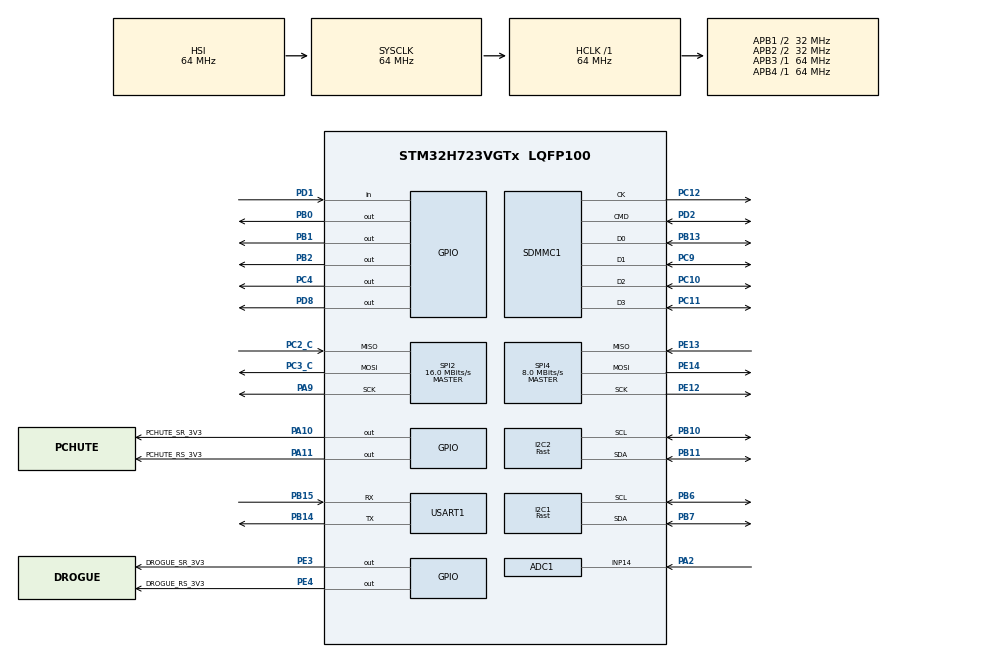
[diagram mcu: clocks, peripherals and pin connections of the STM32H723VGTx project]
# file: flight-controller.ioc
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ADC1.Channel-0\#ChannelRegularConversion=ADC_CHANNEL_14
ADC1.NbrOfConversionFlag=1
ADC1.OffsetNumber-0\#ChannelRegularConversion=ADC_OFFSET_NONE
ADC1.OffsetSignedSaturation-0\#ChannelRegularConversion=DISABLE
ADC1.Rank-0\#ChannelRegularConversion=1
ADC1.Resolution=ADC_RESOLUTION_12B
ADC1.SamplingTime-0\#ChannelRegularConversion=ADC_SAMPLETIME_387CYCLES_5
ADC1.master=1
CORTEX_M7.AccessPermission-Cortex_Memory_Protection_Unit_Region0_Settings=MPU_REGION_FULL_ACCESS
CORTEX_M7.BaseAddress-Cortex_Memory_Protection_Unit_Region0_Settings=0x30000000
CORTEX_M7.DisableExec-Cortex_Memory_Protection_Unit_Region0_Settings=MPU_INSTRUCTION_ACCESS_DISABLE
CORTEX_M7.Enable-Cortex_Memory_Protection_Unit_Region0_Settings=MPU_REGION_ENABLE
CORTEX_M7.MPU_Control=MPU_HFNMI_PRIVDEF
CORTEX_M7.Size-Cortex_Memory_Protection_Unit_Region0_Settings=MPU_REGION_SIZE_32KB
CORTEX_M7.TypeExtField-Cortex_Memory_Protection_Unit_Region0_Settings=MPU_TEX_LEVEL1
Dma.ADC1.8.Direction=DMA_PERIPH_TO_MEMORY
Dma.ADC1.8.EventEnable=DISABLE
Dma.ADC1.8.FIFOMode=DMA_FIFOMODE_DISABLE
Dma.ADC1.8.Instance=DMA2_Stream0
Dma.ADC1.8.MemDataAlignment=DMA_MDATAALIGN_HALFWORD
Dma.ADC1.8.MemInc=DMA_MINC_ENABLE
Dma.ADC1.8.Mode=DMA_NORMAL
Dma.ADC1.8.PeriphDataAlignment=DMA_PDATAALIGN_HALFWORD
Dma.ADC1.8.PeriphInc=DMA_PINC_DISABLE
Dma.ADC1.8.Polarity=HAL_DMAMUX_REQ_GEN_RISING
Dma.ADC1.8.Priority=DMA_PRIORITY_LOW
Dma.ADC1.8.RequestNumber=1
Dma.ADC1.8.SignalID=NONE
Dma.ADC1.8.SyncEnable=DISABLE
Dma.ADC1.8.SyncPolarity=HAL_DMAMUX_SYNC_NO_EVENT
Dma.ADC1.8.SyncRequestNumber=1
Dma.ADC1.8.SyncSignalID=NONE
Dma.I2C1_RX.2.Direction=DMA_PERIPH_TO_MEMORY
Dma.I2C1_RX.2.EventEnable=DISABLE
Dma.I2C1_RX.2.FIFOMode=DMA_FIFOMODE_DISABLE
Dma.I2C1_RX.2.Instance=DMA1_Stream2
Dma.I2C1_RX.2.MemDataAlignment=DMA_MDATAALIGN_BYTE
Dma.I2C1_RX.2.MemInc=DMA_MINC_ENABLE
Dma.I2C1_RX.2.Mode=DMA_NORMAL
Dma.I2C1_RX.2.PeriphDataAlignment=DMA_PDATAALIGN_BYTE
Dma.I2C1_RX.2.PeriphInc=DMA_PINC_DISABLE
Dma.I2C1_RX.2.Polarity=HAL_DMAMUX_REQ_GEN_RISING
Dma.I2C1_RX.2.Priority=DMA_PRIORITY_LOW
Dma.I2C1_RX.2.RequestNumber=1
Dma.I2C1_RX.2.SignalID=NONE
Dma.I2C1_RX.2.SyncEnable=DISABLE
Dma.I2C1_RX.2.SyncPolarity=HAL_DMAMUX_SYNC_NO_EVENT
Dma.I2C1_RX.2.SyncRequestNumber=1
Dma.I2C1_RX.2.SyncSignalID=NONE
Dma.I2C1_TX.3.Direction=DMA_MEMORY_TO_PERIPH
Dma.I2C1_TX.3.EventEnable=DISABLE
Dma.I2C1_TX.3.FIFOMode=DMA_FIFOMODE_DISABLE
Dma.I2C1_TX.3.Instance=DMA1_Stream3
Dma.I2C1_TX.3.MemDataAlignment=DMA_MDATAALIGN_BYTE
Dma.I2C1_TX.3.MemInc=DMA_MINC_ENABLE
Dma.I2C1_TX.3.Mode=DMA_NORMAL
Dma.I2C1_TX.3.PeriphDataAlignment=DMA_PDATAALIGN_BYTE
Dma.I2C1_TX.3.PeriphInc=DMA_PINC_DISABLE
Dma.I2C1_TX.3.Polarity=HAL_DMAMUX_REQ_GEN_RISING
Dma.I2C1_TX.3.Priority=DMA_PRIORITY_LOW
Dma.I2C1_TX.3.RequestNumber=1
Dma.I2C1_TX.3.SignalID=NONE
Dma.I2C1_TX.3.SyncEnable=DISABLE
Dma.I2C1_TX.3.SyncPolarity=HAL_DMAMUX_SYNC_NO_EVENT
Dma.I2C1_TX.3.SyncRequestNumber=1
Dma.I2C1_TX.3.SyncSignalID=NONE
Dma.I2C2_RX.4.Direction=DMA_PERIPH_TO_MEMORY
Dma.I2C2_RX.4.EventEnable=DISABLE
Dma.I2C2_RX.4.FIFOMode=DMA_FIFOMODE_DISABLE
Dma.I2C2_RX.4.Instance=DMA1_Stream4
Dma.I2C2_RX.4.MemDataAlignment=DMA_MDATAALIGN_BYTE
Dma.I2C2_RX.4.MemInc=DMA_MINC_ENABLE
Dma.I2C2_RX.4.Mode=DMA_NORMAL
Dma.I2C2_RX.4.PeriphDataAlignment=DMA_PDATAALIGN_BYTE
Dma.I2C2_RX.4.PeriphInc=DMA_PINC_DISABLE
Dma.I2C2_RX.4.Polarity=HAL_DMAMUX_REQ_GEN_RISING
Dma.I2C2_RX.4.Priority=DMA_PRIORITY_LOW
Dma.I2C2_RX.4.RequestNumber=1
Dma.I2C2_RX.4.SignalID=NONE
Dma.I2C2_RX.4.SyncEnable=DISABLE
Dma.I2C2_RX.4.SyncPolarity=HAL_DMAMUX_SYNC_NO_EVENT
Dma.I2C2_RX.4.SyncRequestNumber=1
Dma.I2C2_RX.4.SyncSignalID=NONE
Dma.I2C2_TX.5.Direction=DMA_MEMORY_TO_PERIPH
Dma.I2C2_TX.5.EventEnable=DISABLE
Dma.I2C2_TX.5.FIFOMode=DMA_FIFOMODE_DISABLE
Dma.I2C2_TX.5.Instance=DMA1_Stream5
Dma.I2C2_TX.5.MemDataAlignment=DMA_MDATAALIGN_BYTE
Dma.I2C2_TX.5.MemInc=DMA_MINC_ENABLE
Dma.I2C2_TX.5.Mode=DMA_NORMAL
Dma.I2C2_TX.5.PeriphDataAlignment=DMA_PDATAALIGN_BYTE
Dma.I2C2_TX.5.PeriphInc=DMA_PINC_DISABLE
Dma.I2C2_TX.5.Polarity=HAL_DMAMUX_REQ_GEN_RISING
Dma.I2C2_TX.5.Priority=DMA_PRIORITY_LOW
Dma.I2C2_TX.5.RequestNumber=1
Dma.I2C2_TX.5.SignalID=NONE
Dma.I2C2_TX.5.SyncEnable=DISABLE
Dma.I2C2_TX.5.SyncPolarity=HAL_DMAMUX_SYNC_NO_EVENT
Dma.I2C2_TX.5.SyncRequestNumber=1
Dma.I2C2_TX.5.SyncSignalID=NONE
Dma.Request0=USART1_RX
Dma.Request1=USART1_TX
Dma.Request10=SPI4_TX
Dma.Request2=I2C1_RX
Dma.Request3=I2C1_TX
Dma.Request4=I2C2_RX
Dma.Request5=I2C2_TX
Dma.Request6=SPI2_RX
Dma.Request7=SPI2_TX
Dma.Request8=ADC1
Dma.Request9=SPI4_RX
Dma.SPI2_RX.6.Direction=DMA_PERIPH_TO_MEMORY
Dma.SPI2_RX.6.EventEnable=DISABLE
Dma.SPI2_RX.6.FIFOMode=DMA_FIFOMODE_DISABLE
Dma.SPI2_RX.6.Instance=DMA1_Stream6
Dma.SPI2_RX.6.MemDataAlignment=DMA_MDATAALIGN_BYTE
Dma.SPI2_RX.6.MemInc=DMA_MINC_ENABLE
Dma.SPI2_RX.6.Mode=DMA_NORMAL
Dma.SPI2_RX.6.PeriphDataAlignment=DMA_PDATAALIGN_BYTE
Dma.SPI2_RX.6.PeriphInc=DMA_PINC_DISABLE
Dma.SPI2_RX.6.Polarity=HAL_DMAMUX_REQ_GEN_RISING
Dma.SPI2_RX.6.Priority=DMA_PRIORITY_LOW
Dma.SPI2_RX.6.RequestNumber=1
Dma.SPI2_RX.6.SignalID=NONE
Dma.SPI2_RX.6.SyncEnable=DISABLE
Dma.SPI2_RX.6.SyncPolarity=HAL_DMAMUX_SYNC_NO_EVENT
Dma.SPI2_RX.6.SyncRequestNumber=1
Dma.SPI2_RX.6.SyncSignalID=NONE
Dma.SPI2_TX.7.Direction=DMA_MEMORY_TO_PERIPH
Dma.SPI2_TX.7.EventEnable=DISABLE
Dma.SPI2_TX.7.FIFOMode=DMA_FIFOMODE_DISABLE
Dma.SPI2_TX.7.Instance=DMA1_Stream7
Dma.SPI2_TX.7.MemDataAlignment=DMA_MDATAALIGN_BYTE
Dma.SPI2_TX.7.MemInc=DMA_MINC_ENABLE
Dma.SPI2_TX.7.Mode=DMA_NORMAL
Dma.SPI2_TX.7.PeriphDataAlignment=DMA_PDATAALIGN_BYTE
Dma.SPI2_TX.7.PeriphInc=DMA_PINC_DISABLE
Dma.SPI2_TX.7.Polarity=HAL_DMAMUX_REQ_GEN_RISING
Dma.SPI2_TX.7.Priority=DMA_PRIORITY_LOW
Dma.SPI2_TX.7.RequestNumber=1
Dma.SPI2_TX.7.SignalID=NONE
Dma.SPI2_TX.7.SyncEnable=DISABLE
Dma.SPI2_TX.7.SyncPolarity=HAL_DMAMUX_SYNC_NO_EVENT
Dma.SPI2_TX.7.SyncRequestNumber=1
Dma.SPI2_TX.7.SyncSignalID=NONE
Dma.SPI4_RX.9.Direction=DMA_PERIPH_TO_MEMORY
Dma.SPI4_RX.9.EventEnable=DISABLE
Dma.SPI4_RX.9.FIFOMode=DMA_FIFOMODE_DISABLE
Dma.SPI4_RX.9.Instance=DMA2_Stream1
Dma.SPI4_RX.9.MemDataAlignment=DMA_MDATAALIGN_BYTE
Dma.SPI4_RX.9.MemInc=DMA_MINC_ENABLE
Dma.SPI4_RX.9.Mode=DMA_NORMAL
Dma.SPI4_RX.9.PeriphDataAlignment=DMA_PDATAALIGN_BYTE
Dma.SPI4_RX.9.PeriphInc=DMA_PINC_DISABLE
Dma.SPI4_RX.9.Polarity=HAL_DMAMUX_REQ_GEN_RISING
Dma.SPI4_RX.9.Priority=DMA_PRIORITY_LOW
Dma.SPI4_RX.9.RequestNumber=1
Dma.SPI4_RX.9.SignalID=NONE
Dma.SPI4_RX.9.SyncEnable=DISABLE
Dma.SPI4_RX.9.SyncPolarity=HAL_DMAMUX_SYNC_NO_EVENT
Dma.SPI4_RX.9.SyncRequestNumber=1
Dma.SPI4_RX.9.SyncSignalID=NONE
Dma.SPI4_TX.10.Direction=DMA_MEMORY_TO_PERIPH
Dma.SPI4_TX.10.EventEnable=DISABLE
Dma.SPI4_TX.10.FIFOMode=DMA_FIFOMODE_DISABLE
Dma.SPI4_TX.10.Instance=DMA2_Stream2
Dma.SPI4_TX.10.MemDataAlignment=DMA_MDATAALIGN_BYTE
Dma.SPI4_TX.10.MemInc=DMA_MINC_ENABLE
Dma.SPI4_TX.10.Mode=DMA_NORMAL
Dma.SPI4_TX.10.PeriphDataAlignment=DMA_PDATAALIGN_BYTE
Dma.SPI4_TX.10.PeriphInc=DMA_PINC_DISABLE
Dma.SPI4_TX.10.Polarity=HAL_DMAMUX_REQ_GEN_RISING
Dma.SPI4_TX.10.Priority=DMA_PRIORITY_LOW
Dma.SPI4_TX.10.RequestNumber=1
Dma.SPI4_TX.10.SignalID=NONE
Dma.SPI4_TX.10.SyncEnable=DISABLE
Dma.SPI4_TX.10.SyncPolarity=HAL_DMAMUX_SYNC_NO_EVENT
Dma.SPI4_TX.10.SyncRequestNumber=1
Dma.SPI4_TX.10.SyncSignalID=NONE
Dma.USART1_RX.0.Direction=DMA_PERIPH_TO_MEMORY
Dma.USART1_RX.0.EventEnable=DISABLE
Dma.USART1_RX.0.FIFOMode=DMA_FIFOMODE_DISABLE
Dma.USART1_RX.0.Instance=DMA1_Stream0
Dma.USART1_RX.0.MemDataAlignment=DMA_MDATAALIGN_BYTE
Dma.USART1_RX.0.MemInc=DMA_MINC_ENABLE
Dma.USART1_RX.0.Mode=DMA_NORMAL
Dma.USART1_RX.0.PeriphDataAlignment=DMA_PDATAALIGN_BYTE
Dma.USART1_RX.0.PeriphInc=DMA_PINC_DISABLE
Dma.USART1_RX.0.Polarity=HAL_DMAMUX_REQ_GEN_RISING
Dma.USART1_RX.0.Priority=DMA_PRIORITY_LOW
Dma.USART1_RX.0.RequestNumber=1
Dma.USART1_RX.0.SignalID=NONE
Dma.USART1_RX.0.SyncEnable=DISABLE
Dma.USART1_RX.0.SyncPolarity=HAL_DMAMUX_SYNC_NO_EVENT
Dma.USART1_RX.0.SyncRequestNumber=1
Dma.USART1_RX.0.SyncSignalID=NONE
Dma.USART1_TX.1.Direction=DMA_MEMORY_TO_PERIPH
Dma.USART1_TX.1.EventEnable=DISABLE
Dma.USART1_TX.1.FIFOMode=DMA_FIFOMODE_DISABLE
Dma.USART1_TX.1.Instance=DMA1_Stream1
Dma.USART1_TX.1.MemDataAlignment=DMA_MDATAALIGN_BYTE
Dma.USART1_TX.1.MemInc=DMA_MINC_ENABLE
Dma.USART1_TX.1.Mode=DMA_NORMAL
Dma.USART1_TX.1.PeriphDataAlignment=DMA_PDATAALIGN_BYTE
Dma.USART1_TX.1.PeriphInc=DMA_PINC_DISABLE
Dma.USART1_TX.1.Polarity=HAL_DMAMUX_REQ_GEN_RISING
Dma.USART1_TX.1.Priority=DMA_PRIORITY_LOW
Dma.USART1_TX.1.RequestNumber=1
Dma.USART1_TX.1.SignalID=NONE
Dma.USART1_TX.1.SyncEnable=DISABLE
Dma.USART1_TX.1.SyncPolarity=HAL_DMAMUX_SYNC_NO_EVENT
Dma.USART1_TX.1.SyncRequestNumber=1
Dma.USART1_TX.1.SyncSignalID=NONE
FATFS.BSP.number=1
FATFS0.BSP.STBoard=false
FATFS0.BSP.api=Unknown
FATFS0.BSP.instance=PD1
FATFS0.BSP.ip=GPIO
FATFS0.BSP.mode=Input
FATFS0.BSP.name=Detect_SDIO
FATFS0.BSP.solution=PD1
FREERTOS.Tasks01=defaultTask,24,128,StartDefaultTask,Default,NULL,Dynamic,NULL,NULL
FREERTOS.configENABLE_FPU=1
FREERTOS.configTOTAL_HEAP_SIZE=49152
I2C1.I2C_Speed_Mode=I2C_Fast
I2C1.Timing=0x00300F38
I2C2.I2C_Speed_Mode=I2C_Fast
I2C2.Timing=0x00300F38
Mcu.Family=STM32H7
Mcu.Name=STM32H723VGTx
Mcu.Package=LQFP100
NVIC.ADC_IRQn=true\:5\:0\:false\:false\:true\:true\:true\:true\:true
NVIC.DMA1_Stream0_IRQn=true\:5\:0\:true\:false\:true\:true\:false\:true\:true
NVIC.DMA1_Stream1_IRQn=true\:5\:0\:false\:false\:true\:true\:false\:true\:true
NVIC.DMA1_Stream2_IRQn=true\:5\:0\:false\:false\:true\:true\:false\:true\:true
NVIC.DMA1_Stream3_IRQn=true\:5\:0\:false\:false\:true\:true\:false\:true\:true
NVIC.DMA1_Stream4_IRQn=true\:5\:0\:false\:false\:true\:true\:false\:true\:true
NVIC.DMA1_Stream5_IRQn=true\:5\:0\:false\:false\:true\:true\:false\:true\:true
NVIC.DMA1_Stream6_IRQn=true\:5\:0\:false\:false\:true\:true\:false\:true\:true
NVIC.DMA1_Stream7_IRQn=true\:5\:0\:false\:false\:true\:true\:false\:true\:true
NVIC.DMA2_Stream0_IRQn=true\:5\:0\:false\:false\:true\:true\:false\:true\:true
NVIC.DMA2_Stream1_IRQn=true\:5\:0\:false\:false\:true\:true\:false\:true\:true
NVIC.DMA2_Stream2_IRQn=true\:5\:0\:false\:false\:true\:true\:false\:true\:true
NVIC.I2C1_ER_IRQn=true\:5\:0\:false\:false\:true\:true\:true\:true\:true
NVIC.I2C1_EV_IRQn=true\:5\:0\:false\:false\:true\:true\:true\:true\:true
NVIC.I2C2_ER_IRQn=true\:5\:0\:false\:false\:true\:true\:true\:true\:true
NVIC.I2C2_EV_IRQn=true\:5\:0\:false\:false\:true\:true\:true\:true\:true
NVIC.PriorityGroup=NVIC_PRIORITYGROUP_4
NVIC.SDMMC1_IRQn=true\:5\:0\:false\:false\:true\:true\:true\:true\:true
NVIC.SPI2_IRQn=true\:5\:0\:false\:false\:true\:true\:true\:true\:true
NVIC.SPI4_IRQn=true\:5\:0\:false\:false\:true\:true\:true\:true\:true
NVIC.TIM1_UP_IRQn=true\:15\:0\:false\:false\:true\:false\:false\:true\:true
NVIC.TimeBase=TIM1_UP_IRQn
NVIC.TimeBaseIP=TIM1
NVIC.USART1_IRQn=true\:5\:0\:false\:false\:true\:true\:true\:true\:true
PA10.GPIO_Label=PCHUTE_SR_3V3
PA10.Signal=GPIO_Output
PA11.GPIO_Label=PCHUTE_RS_3V3
PA11.Signal=GPIO_Output
PA13(JTMS/SWDIO).Mode=Serial_Wire
PA13(JTMS/SWDIO).Signal=DEBUG_JTMS-SWDIO
PA14(JTCK/SWCLK).Mode=Serial_Wire
PA14(JTCK/SWCLK).Signal=DEBUG_JTCK-SWCLK
PA2.Signal=ADCx_INP14
PA9.Mode=Full_Duplex_Master
PA9.Signal=SPI2_SCK
PB0.GPIO_Speed=GPIO_SPEED_FREQ_HIGH
PB0.PinState=GPIO_PIN_SET
PB0.Signal=GPIO_Output
PB1.PinState=GPIO_PIN_SET
PB1.Signal=GPIO_Output
PB10.GPIO_Pu=GPIO_PULLUP
PB10.Mode=I2C
PB10.Signal=I2C2_SCL
PB11.GPIO_Pu=GPIO_PULLUP
PB11.Mode=I2C
PB11.Signal=I2C2_SDA
PB13.Mode=SD_4_bits_Wide_bus
PB13.Signal=SDMMC1_D0
PB14.Mode=Asynchronous
PB14.Signal=USART1_TX
PB15.Mode=Asynchronous
PB15.Signal=USART1_RX
PB2.PinState=GPIO_PIN_SET
PB2.Signal=GPIO_Output
PB6.Mode=I2C
PB6.Signal=I2C1_SCL
PB7.Mode=I2C
PB7.Signal=I2C1_SDA
PC10.Mode=SD_4_bits_Wide_bus
PC10.Signal=SDMMC1_D2
PC11.Mode=SD_4_bits_Wide_bus
PC11.Signal=SDMMC1_D3
PC12.Mode=SD_4_bits_Wide_bus
PC12.Signal=SDMMC1_CK
PC2_C.Mode=Full_Duplex_Master
PC2_C.Signal=SPI2_MISO
PC3_C.Mode=Full_Duplex_Master
PC3_C.Signal=SPI2_MOSI
PC4.GPIO_Speed=GPIO_SPEED_FREQ_HIGH
PC4.Signal=GPIO_Output
PC9.Mode=SD_4_bits_Wide_bus
PC9.Signal=SDMMC1_D1
PD1.Signal=GPIO_Input
PD2.Mode=SD_4_bits_Wide_bus
PD2.Signal=SDMMC1_CMD
PD8.GPIO_Speed=GPIO_SPEED_FREQ_HIGH
PD8.PinState=GPIO_PIN_SET
PD8.Signal=GPIO_Output
PE12.Mode=Full_Duplex_Master
PE12.Signal=SPI4_SCK
PE13.Mode=Full_Duplex_Master
PE13.Signal=SPI4_MISO
PE14.Mode=Full_Duplex_Master
PE14.Signal=SPI4_MOSI
PE3.GPIO_Label=DROGUE_SR_3V3
PE3.Signal=GPIO_Output
PE4.GPIO_Label=DROGUE_RS_3V3
PE4.Signal=GPIO_Output
PH0-OSC_IN.Mode=HSE-External-Oscillator
PH0-OSC_IN.Signal=RCC_OSC_IN
PH1-OSC_OUT.Mode=HSE-External-Oscillator
PH1-OSC_OUT.Signal=RCC_OSC_OUT
ProjectManager.HeapSize=0x200
ProjectManager.StackSize=0x400
ProjectManager.TargetToolchain=STM32CubeIDE
RCC.ADCFreq_Value=38400000
RCC.APB1Freq_Value=32000000
RCC.APB2Freq_Value=32000000
RCC.APB3Freq_Value=64000000
RCC.APB4Freq_Value=64000000
RCC.CortexFreq_Value=64000000
RCC.D2PPRE1=RCC_APB1_DIV2
RCC.D2PPRE2=RCC_APB2_DIV2
RCC.DIVM1=4
RCC.DIVM2=4
RCC.DIVN1=12
RCC.DIVN2=12
RCC.DIVP2=5
RCC.DIVQ1=3
RCC.HCLKFreq_Value=64000000
RCC.PLL2FRACN=0
RCC.PLLFRACN=0
RCC.SYSCLKFreq_VALUE=64000000
RCC.USBFreq_Value=64000000
SDMMC1.ClockDiv=162
SH.ADCx_INP14.0=ADC1_INP14,IN14-Single-Ended
SPI2.BaudRatePrescaler=SPI_BAUDRATEPRESCALER_4
SPI2.CalculateBaudRate=16.0 MBits/s
SPI2.DataSize=SPI_DATASIZE_8BIT
SPI2.Direction=SPI_DIRECTION_2LINES
SPI2.Mode=SPI_MODE_MASTER
SPI2.VirtualType=VM_MASTER
SPI4.BaudRatePrescaler=SPI_BAUDRATEPRESCALER_4
SPI4.CalculateBaudRate=8.0 MBits/s
SPI4.DataSize=SPI_DATASIZE_8BIT
SPI4.Direction=SPI_DIRECTION_2LINES
SPI4.Mode=SPI_MODE_MASTER
SPI4.VirtualType=VM_MASTER
TIM2.Prescaler=63
USART1.VirtualMode-Asynchronous=VM_ASYNC
VP_FATFS_VS_SDIO.Mode=SDIO
VP_FREERTOS_VS_CMSIS_V2.Mode=CMSIS_V2
VP_MEMORYMAP_VS_MEMORYMAP.Mode=CurAppReg
VP_SYS_VS_tim1.Mode=TIM1
VP_TIM2_VS_ClockSourceINT.Mode=Internal
board=custom

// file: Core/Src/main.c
/* USER CODE BEGIN Header */
/**
  ******************************************************************************
  * @file           : main.c
  * @brief          : Main program body
  ******************************************************************************
  * @attention
  *
  * Copyright (c) 2026 STMicroelectronics.
  * All rights reserved.
  *
  * This software is licensed under terms that can be found in the LICENSE file
  * in the root directory of this software component.
  * If no LICENSE file comes with this software, it is provided AS-IS.
  *
  ******************************************************************************
  */
/* USER CODE END Header */
#include "main.h"
#include "FreeRTOS.h"
#include "cmsis_os2.h"
#include "fatfs.h"

/* USER CODE BEGIN Includes */
#include "Utils/configuration.h"
#include "Utils/shared.h"
#include "Managers/StructManager.h"
#include "Callbacks/Callbacks.h"
#include <Tasks/SDLoggingTask.h>
#include <Tasks/StateMachineTask.h>
#include <Tasks/TelemetryTask.h>
#include <Tasks/SensorConfigTask.h>
#include <Tasks/FlashLoggingTask.h>
#include <Tasks/PyroTask.h>
#include <Tasks/BuzzerTask.h>
#include "Sensors/Sensors.h"
#include "Sensors/W25Q32JV.h"
#include "Protocol/Protocol.h"

#include <timers.h>
#include "Utils/Battery.h"
/* USER CODE END Includes */

ADC_HandleTypeDef hadc1;
DMA_HandleTypeDef hdma_adc1;

I2C_HandleTypeDef hi2c1;
I2C_HandleTypeDef hi2c2;
DMA_HandleTypeDef hdma_i2c1_rx;
DMA_HandleTypeDef hdma_i2c1_tx;
DMA_HandleTypeDef hdma_i2c2_rx;
DMA_HandleTypeDef hdma_i2c2_tx;

SD_HandleTypeDef hsd1;

SPI_HandleTypeDef hspi2;
SPI_HandleTypeDef hspi4;
DMA_HandleTypeDef hdma_spi2_rx;
DMA_HandleTypeDef hdma_spi2_tx;
DMA_HandleTypeDef hdma_spi4_rx;
DMA_HandleTypeDef hdma_spi4_tx;

TIM_HandleTypeDef htim2;

UART_HandleTypeDef huart1;
DMA_HandleTypeDef hdma_usart1_rx;
DMA_HandleTypeDef hdma_usart1_tx;

/* Definitions for defaultTask */
osThreadId_t defaultTaskHandle;
const osThreadAttr_t defaultTask_attributes = {
  .name = "defaultTask",
  .stack_size = 128 * 4,
  .priority = (osPriority_t) osPriorityNormal,
};
/* USER CODE BEGIN PV */
QueueHandle_t SDLoggingQueue;
QueueHandle_t FlashLoggingQueue;
QueueHandle_t CommandQueue;
QueueHandle_t FlightDataQueue;
QueueHandle_t BuzzerQueue;

TimerHandle_t TimerIIM42653;
TimerHandle_t TimerBMP581;
TimerHandle_t TimerIIS2MDCTR;
TimerHandle_t TimerBattery;

SystemFaultFlags_t SystemFaultFlags;

SystemContext_t SystemContext;
/* USER CODE END PV */

void SystemClock_Config(void);
static void MPU_Config(void);
static void MX_GPIO_Init(void);
static void MX_DMA_Init(void);
static void MX_I2C1_Init(void);
static void MX_I2C2_Init(void);
static void MX_SPI2_Init(void);
static void MX_TIM2_Init(void);
static void MX_SDMMC1_SD_Init(void);
static void MX_USART1_UART_Init(void);
static void MX_ADC1_Init(void);
static void MX_SPI4_Init(void);
void StartDefaultTask(void *argument);

int main(void)
{

  /* MPU Configuration--------------------------------------------------------*/
  MPU_Config();

  /* MCU Configuration--------------------------------------------------------*/

  /* Reset of all peripherals, Initializes the Flash interface and the Systick. */
  HAL_Init();

  /* Configure the system clock */
  SystemClock_Config();

  /* Initialize all configured peripherals */
  MX_GPIO_Init();
  MX_DMA_Init();
  MX_I2C1_Init();
  MX_I2C2_Init();
  MX_SPI2_Init();
  MX_TIM2_Init();
  MX_SDMMC1_SD_Init();
  MX_FATFS_Init();
  MX_USART1_UART_Init();
  MX_ADC1_Init();
  MX_SPI4_Init();

  /* Init scheduler */
  osKernelInitialize();

  /* Create the thread(s) */
  /* creation of defaultTask */
  defaultTaskHandle = osThreadNew(StartDefaultTask, NULL, &defaultTask_attributes);

  /* USER CODE BEGIN RTOS_THREADS */
#if FLASH_DUMP_TO_SD || FLASH_ERASE_ALL
  CreateFlashMaintenanceTask(tskIDLE_PRIORITY + 1, STACK_SIZE_FLASH_MAINTENANCE);
#else
  HAL_TIM_Base_Start(&htim2);

  SDLoggingQueue = xQueueCreate(DEFAULT_QUEUE_LENGTH, sizeof(SDLogRecord_t));
  FlashLoggingQueue = xQueueCreate(FLASH_LOGGING_QUEUE_LENGTH, sizeof(FlashLogRecord_t));
  CommandQueue = xQueueCreate(DEFAULT_QUEUE_LENGTH, sizeof(CommandType_t));
  FlightDataQueue = xQueueCreate(1, sizeof(FlightData_t));
  BuzzerQueue = xQueueCreate(4, sizeof(BuzzerCommand_t));

  CreateBuzzerTask(tskIDLE_PRIORITY + 1, STACK_SIZE_BUZZER);
  CreatePyroTask(tskIDLE_PRIORITY + 5, STACK_SIZE_PYRO);
  CreateTelemetryTask(&SystemContext, tskIDLE_PRIORITY + 3, STACK_SIZE_TELEMETRY);
  CreateSensorConfigTask(&SystemContext, tskIDLE_PRIORITY + 3, STACK_SIZE_SENSOR_CONFIG);
  CreateStateMachineTask(&SystemContext, tskIDLE_PRIORITY + 6, STACK_SIZE_STATE_MACHINE);
#if SD_LOGGING_ENABLED
  CreateSDLoggingTask(&SystemContext, tskIDLE_PRIORITY + 1, STACK_SIZE_SD_LOGGING);
#endif
  CreateFlashLoggingTask(&SystemContext, tskIDLE_PRIORITY + 2, STACK_SIZE_FLASH_LOGGING);

  // TODO: Revise rate
  TimerIIM42653 = xTimerCreate("IIM42653", pdMS_TO_TICKS(10), pdTRUE, NULL, IIM42653_Timer_Callback);
  TimerBMP581 = xTimerCreate("BMP581", pdMS_TO_TICKS(25), pdTRUE, NULL, BMP581_Timer_Callback);
  TimerIIS2MDCTR = xTimerCreate("IIS2MDCTR", pdMS_TO_TICKS(50), pdTRUE, NULL, IIS2MDCTR_Timer_Callback);
  TimerBattery = xTimerCreate("Battery", pdMS_TO_TICKS(500), pdTRUE, NULL, Battery_Timer_Callback);
#endif
  /* add threads, ... */
  /* USER CODE END RTOS_THREADS */

  /* Start scheduler */
  osKernelStart();

  /* We should never get here as control is now taken by the scheduler */

  /* Infinite loop */
  while (1)
  {

  }
}

void SystemClock_Config(void)
{
  RCC_OscInitTypeDef RCC_OscInitStruct = {0};
  RCC_ClkInitTypeDef RCC_ClkInitStruct = {0};

  /** Supply configuration update enable
  */
  HAL_PWREx_ConfigSupply(PWR_LDO_SUPPLY);

  /** Configure the main internal regulator output voltage
  */
  __HAL_PWR_VOLTAGESCALING_CONFIG(PWR_REGULATOR_VOLTAGE_SCALE3);

  while(!__HAL_PWR_GET_FLAG(PWR_FLAG_VOSRDY)) {}

  /** Initializes the RCC Oscillators according to the specified parameters
  * in the RCC_OscInitTypeDef structure.
  */
  RCC_OscInitStruct.OscillatorType = RCC_OSCILLATORTYPE_HSI;
  RCC_OscInitStruct.HSIState = RCC_HSI_DIV1;
  RCC_OscInitStruct.HSICalibrationValue = 64;
  RCC_OscInitStruct.PLL.PLLState = RCC_PLL_ON;
  RCC_OscInitStruct.PLL.PLLSource = RCC_PLLSOURCE_HSI;
  RCC_OscInitStruct.PLL.PLLM = 4;
  RCC_OscInitStruct.PLL.PLLN = 12;
  RCC_OscInitStruct.PLL.PLLP = 2;
  RCC_OscInitStruct.PLL.PLLQ = 3;
  RCC_OscInitStruct.PLL.PLLR = 2;
  RCC_OscInitStruct.PLL.PLLRGE = RCC_PLL1VCIRANGE_3;
  RCC_OscInitStruct.PLL.PLLVCOSEL = RCC_PLL1VCOWIDE;
  RCC_OscInitStruct.PLL.PLLFRACN = 0;
  if (HAL_RCC_OscConfig(&RCC_OscInitStruct) != HAL_OK)
  {
    Error_Handler();
  }

  /** Initializes the CPU, AHB and APB buses clocks
  */
  RCC_ClkInitStruct.ClockType = RCC_CLOCKTYPE_HCLK|RCC_CLOCKTYPE_SYSCLK
                              |RCC_CLOCKTYPE_PCLK1|RCC_CLOCKTYPE_PCLK2
                              |RCC_CLOCKTYPE_D3PCLK1|RCC_CLOCKTYPE_D1PCLK1;
  RCC_ClkInitStruct.SYSCLKSource = RCC_SYSCLKSOURCE_HSI;
  RCC_ClkInitStruct.SYSCLKDivider = RCC_SYSCLK_DIV1;
  RCC_ClkInitStruct.AHBCLKDivider = RCC_HCLK_DIV1;
  RCC_ClkInitStruct.APB3CLKDivider = RCC_APB3_DIV1;
  RCC_ClkInitStruct.APB1CLKDivider = RCC_APB1_DIV2;
  RCC_ClkInitStruct.APB2CLKDivider = RCC_APB2_DIV2;
  RCC_ClkInitStruct.APB4CLKDivider = RCC_APB4_DIV1;

  if (HAL_RCC_ClockConfig(&RCC_ClkInitStruct, FLASH_LATENCY_1) != HAL_OK)
  {
    Error_Handler();
  }
}

static void MX_ADC1_Init(void)
{

  ADC_MultiModeTypeDef multimode = {0};
  ADC_ChannelConfTypeDef sConfig = {0};

  /** Common config
  */
  hadc1.Instance = ADC1;
  hadc1.Init.ClockPrescaler = ADC_CLOCK_ASYNC_DIV1;
  hadc1.Init.Resolution = ADC_RESOLUTION_12B;
  hadc1.Init.ScanConvMode = ADC_SCAN_DISABLE;
  hadc1.Init.EOCSelection = ADC_EOC_SINGLE_CONV;
  hadc1.Init.LowPowerAutoWait = DISABLE;
  hadc1.Init.ContinuousConvMode = DISABLE;
  hadc1.Init.NbrOfConversion = 1;
  hadc1.Init.DiscontinuousConvMode = DISABLE;
  hadc1.Init.ExternalTrigConv = ADC_SOFTWARE_START;
  hadc1.Init.ExternalTrigConvEdge = ADC_EXTERNALTRIGCONVEDGE_NONE;
  hadc1.Init.ConversionDataManagement = ADC_CONVERSIONDATA_DMA_ONESHOT;
  hadc1.Init.Overrun = ADC_OVR_DATA_PRESERVED;
  hadc1.Init.LeftBitShift = ADC_LEFTBITSHIFT_NONE;
  hadc1.Init.OversamplingMode = DISABLE;
  hadc1.Init.Oversampling.Ratio = 1;
  if (HAL_ADC_Init(&hadc1) != HAL_OK)
  {
    Error_Handler();
  }

  /** Configure the ADC multi-mode
  */
  multimode.Mode = ADC_MODE_INDEPENDENT;
  if (HAL_ADCEx_MultiModeConfigChannel(&hadc1, &multimode) != HAL_OK)
  {
    Error_Handler();
  }

  /** Configure Regular Channel
  */
  sConfig.Channel = ADC_CHANNEL_14;
  sConfig.Rank = ADC_REGULAR_RANK_1;
  sConfig.SamplingTime = ADC_SAMPLETIME_387CYCLES_5;
  sConfig.SingleDiff = ADC_SINGLE_ENDED;
  sConfig.OffsetNumber = ADC_OFFSET_NONE;
  sConfig.Offset = 0;
  sConfig.OffsetSignedSaturation = DISABLE;
  if (HAL_ADC_ConfigChannel(&hadc1, &sConfig) != HAL_OK)
  {
    Error_Handler();
  }

}

static void MX_I2C1_Init(void)
{

  hi2c1.Instance = I2C1;
  hi2c1.Init.Timing = 0x00300F38;
  hi2c1.Init.OwnAddress1 = 0;
  hi2c1.Init.AddressingMode = I2C_ADDRESSINGMODE_7BIT;
  hi2c1.Init.DualAddressMode = I2C_DUALADDRESS_DISABLE;
  hi2c1.Init.OwnAddress2 = 0;
  hi2c1.Init.OwnAddress2Masks = I2C_OA2_NOMASK;
  hi2c1.Init.GeneralCallMode = I2C_GENERALCALL_DISABLE;
  hi2c1.Init.NoStretchMode = I2C_NOSTRETCH_DISABLE;
  if (HAL_I2C_Init(&hi2c1) != HAL_OK)
  {
    Error_Handler();
  }

  /** Configure Analogue filter
  */
  if (HAL_I2CEx_ConfigAnalogFilter(&hi2c1, I2C_ANALOGFILTER_ENABLE) != HAL_OK)
  {
    Error_Handler();
  }

  /** Configure Digital filter
  */
  if (HAL_I2CEx_ConfigDigitalFilter(&hi2c1, 0) != HAL_OK)
  {
    Error_Handler();
  }

}

static void MX_I2C2_Init(void)
{

  hi2c2.Instance = I2C2;
  hi2c2.Init.Timing = 0x00300F38;
  hi2c2.Init.OwnAddress1 = 0;
  hi2c2.Init.AddressingMode = I2C_ADDRESSINGMODE_7BIT;
  hi2c2.Init.DualAddressMode = I2C_DUALADDRESS_DISABLE;
  hi2c2.Init.OwnAddress2 = 0;
  hi2c2.Init.OwnAddress2Masks = I2C_OA2_NOMASK;
  hi2c2.Init.GeneralCallMode = I2C_GENERALCALL_DISABLE;
  hi2c2.Init.NoStretchMode = I2C_NOSTRETCH_DISABLE;
  if (HAL_I2C_Init(&hi2c2) != HAL_OK)
  {
    Error_Handler();
  }

  /** Configure Analogue filter
  */
  if (HAL_I2CEx_ConfigAnalogFilter(&hi2c2, I2C_ANALOGFILTER_ENABLE) != HAL_OK)
  {
    Error_Handler();
  }

  /** Configure Digital filter
  */
  if (HAL_I2CEx_ConfigDigitalFilter(&hi2c2, 0) != HAL_OK)
  {
    Error_Handler();
  }

}

static void MX_SDMMC1_SD_Init(void)
{

  /* USER CODE BEGIN SDMMC1_Init 0 */
#if !SD_LOGGING_ENABLED
  return;
#endif
  /* USER CODE END SDMMC1_Init 0 */

  hsd1.Instance = SDMMC1;
  hsd1.Init.ClockEdge = SDMMC_CLOCK_EDGE_RISING;
  hsd1.Init.ClockPowerSave = SDMMC_CLOCK_POWER_SAVE_DISABLE;
  hsd1.Init.BusWide = SDMMC_BUS_WIDE_4B;
  hsd1.Init.HardwareFlowControl = SDMMC_HARDWARE_FLOW_CONTROL_DISABLE;
  hsd1.Init.ClockDiv = 162;
  if (HAL_SD_Init(&hsd1) != HAL_OK)
  {
    Error_Handler();
  }

}

static void MX_SPI2_Init(void)
{

  /* SPI2 parameter configuration*/
  hspi2.Instance = SPI2;
  hspi2.Init.Mode = SPI_MODE_MASTER;
  hspi2.Init.Direction = SPI_DIRECTION_2LINES;
  hspi2.Init.DataSize = SPI_DATASIZE_8BIT;
  hspi2.Init.CLKPolarity = SPI_POLARITY_LOW;
  hspi2.Init.CLKPhase = SPI_PHASE_1EDGE;
  hspi2.Init.NSS = SPI_NSS_SOFT;
  hspi2.Init.BaudRatePrescaler = SPI_BAUDRATEPRESCALER_4;
  hspi2.Init.FirstBit = SPI_FIRSTBIT_MSB;
  hspi2.Init.TIMode = SPI_TIMODE_DISABLE;
  hspi2.Init.CRCCalculation = SPI_CRCCALCULATION_DISABLE;
  hspi2.Init.CRCPolynomial = 0x0;
  hspi2.Init.NSSPMode = SPI_NSS_PULSE_ENABLE;
  hspi2.Init.NSSPolarity = SPI_NSS_POLARITY_LOW;
  hspi2.Init.FifoThreshold = SPI_FIFO_THRESHOLD_01DATA;
  hspi2.Init.TxCRCInitializationPattern = SPI_CRC_INITIALIZATION_ALL_ZERO_PATTERN;
  hspi2.Init.RxCRCInitializationPattern = SPI_CRC_INITIALIZATION_ALL_ZERO_PATTERN;
  hspi2.Init.MasterSSIdleness = SPI_MASTER_SS_IDLENESS_00CYCLE;
  hspi2.Init.MasterInterDataIdleness = SPI_MASTER_INTERDATA_IDLENESS_00CYCLE;
  hspi2.Init.MasterReceiverAutoSusp = SPI_MASTER_RX_AUTOSUSP_DISABLE;
  hspi2.Init.MasterKeepIOState = SPI_MASTER_KEEP_IO_STATE_DISABLE;
  hspi2.Init.IOSwap = SPI_IO_SWAP_DISABLE;
  if (HAL_SPI_Init(&hspi2) != HAL_OK)
  {
    Error_Handler();
  }

}

static void MX_SPI4_Init(void)
{

  /* SPI4 parameter configuration*/
  hspi4.Instance = SPI4;
  hspi4.Init.Mode = SPI_MODE_MASTER;
  hspi4.Init.Direction = SPI_DIRECTION_2LINES;
  hspi4.Init.DataSize = SPI_DATASIZE_8BIT;
  hspi4.Init.CLKPolarity = SPI_POLARITY_LOW;
  hspi4.Init.CLKPhase = SPI_PHASE_1EDGE;
  hspi4.Init.NSS = SPI_NSS_SOFT;
  hspi4.Init.BaudRatePrescaler = SPI_BAUDRATEPRESCALER_4;
  hspi4.Init.FirstBit = SPI_FIRSTBIT_MSB;
  hspi4.Init.TIMode = SPI_TIMODE_DISABLE;
  hspi4.Init.CRCCalculation = SPI_CRCCALCULATION_DISABLE;
  hspi4.Init.CRCPolynomial = 0x0;
  hspi4.Init.NSSPMode = SPI_NSS_PULSE_ENABLE;
  hspi4.Init.NSSPolarity = SPI_NSS_POLARITY_LOW;
  hspi4.Init.FifoThreshold = SPI_FIFO_THRESHOLD_01DATA;
  hspi4.Init.TxCRCInitializationPattern = SPI_CRC_INITIALIZATION_ALL_ZERO_PATTERN;
  hspi4.Init.RxCRCInitializationPattern = SPI_CRC_INITIALIZATION_ALL_ZERO_PATTERN;
  hspi4.Init.MasterSSIdleness = SPI_MASTER_SS_IDLENESS_00CYCLE;
  hspi4.Init.MasterInterDataIdleness = SPI_MASTER_INTERDATA_IDLENESS_00CYCLE;
  hspi4.Init.MasterReceiverAutoSusp = SPI_MASTER_RX_AUTOSUSP_DISABLE;
  hspi4.Init.MasterKeepIOState = SPI_MASTER_KEEP_IO_STATE_DISABLE;
  hspi4.Init.IOSwap = SPI_IO_SWAP_DISABLE;
  if (HAL_SPI_Init(&hspi4) != HAL_OK)
  {
    Error_Handler();
  }

}

static void MX_TIM2_Init(void)
{

  TIM_ClockConfigTypeDef sClockSourceConfig = {0};
  TIM_MasterConfigTypeDef sMasterConfig = {0};

  htim2.Instance = TIM2;
  htim2.Init.Prescaler = 63;
  htim2.Init.CounterMode = TIM_COUNTERMODE_UP;
  htim2.Init.Period = 4294967295;
  htim2.Init.ClockDivision = TIM_CLOCKDIVISION_DIV1;
  htim2.Init.AutoReloadPreload = TIM_AUTORELOAD_PRELOAD_DISABLE;
  if (HAL_TIM_Base_Init(&htim2) != HAL_OK)
  {
    Error_Handler();
  }
  sClockSourceConfig.ClockSource = TIM_CLOCKSOURCE_INTERNAL;
  if (HAL_TIM_ConfigClockSource(&htim2, &sClockSourceConfig) != HAL_OK)
  {
    Error_Handler();
  }
  sMasterConfig.MasterOutputTrigger = TIM_TRGO_RESET;
  sMasterConfig.MasterSlaveMode = TIM_MASTERSLAVEMODE_DISABLE;
  if (HAL_TIMEx_MasterConfigSynchronization(&htim2, &sMasterConfig) != HAL_OK)
  {
    Error_Handler();
  }

}

static void MX_USART1_UART_Init(void)
{

  huart1.Instance = USART1;
  huart1.Init.BaudRate = 115200;
  huart1.Init.WordLength = UART_WORDLENGTH_8B;
  huart1.Init.StopBits = UART_STOPBITS_1;
  huart1.Init.Parity = UART_PARITY_NONE;
  huart1.Init.Mode = UART_MODE_TX_RX;
  huart1.Init.HwFlowCtl = UART_HWCONTROL_NONE;
  huart1.Init.OverSampling = UART_OVERSAMPLING_16;
  huart1.Init.OneBitSampling = UART_ONE_BIT_SAMPLE_DISABLE;
  huart1.Init.ClockPrescaler = UART_PRESCALER_DIV1;
  huart1.AdvancedInit.AdvFeatureInit = UART_ADVFEATURE_NO_INIT;
  if (HAL_UART_Init(&huart1) != HAL_OK)
  {
    Error_Handler();
  }
  if (HAL_UARTEx_SetTxFifoThreshold(&huart1, UART_TXFIFO_THRESHOLD_1_8) != HAL_OK)
  {
    Error_Handler();
  }
  if (HAL_UARTEx_SetRxFifoThreshold(&huart1, UART_RXFIFO_THRESHOLD_1_8) != HAL_OK)
  {
    Error_Handler();
  }
  if (HAL_UARTEx_DisableFifoMode(&huart1) != HAL_OK)
  {
    Error_Handler();
  }

}

static void MX_DMA_Init(void)
{

  /* DMA controller clock enable */
  __HAL_RCC_DMA1_CLK_ENABLE();
  __HAL_RCC_DMA2_CLK_ENABLE();

  /* DMA interrupt init */
  /* DMA1_Stream0_IRQn interrupt configuration */
  HAL_NVIC_SetPriority(DMA1_Stream0_IRQn, 5, 0);
  HAL_NVIC_EnableIRQ(DMA1_Stream0_IRQn);
  /* DMA1_Stream1_IRQn interrupt configuration */
  HAL_NVIC_SetPriority(DMA1_Stream1_IRQn, 5, 0);
  HAL_NVIC_EnableIRQ(DMA1_Stream1_IRQn);
  /* DMA1_Stream2_IRQn interrupt configuration */
  HAL_NVIC_SetPriority(DMA1_Stream2_IRQn, 5, 0);
  HAL_NVIC_EnableIRQ(DMA1_Stream2_IRQn);
  /* DMA1_Stream3_IRQn interrupt configuration */
  HAL_NVIC_SetPriority(DMA1_Stream3_IRQn, 5, 0);
  HAL_NVIC_EnableIRQ(DMA1_Stream3_IRQn);
  /* DMA1_Stream4_IRQn interrupt configuration */
  HAL_NVIC_SetPriority(DMA1_Stream4_IRQn, 5, 0);
  HAL_NVIC_EnableIRQ(DMA1_Stream4_IRQn);
  /* DMA1_Stream5_IRQn interrupt configuration */
  HAL_NVIC_SetPriority(DMA1_Stream5_IRQn, 5, 0);
  HAL_NVIC_EnableIRQ(DMA1_Stream5_IRQn);
  /* DMA1_Stream6_IRQn interrupt configuration */
  HAL_NVIC_SetPriority(DMA1_Stream6_IRQn, 5, 0);
  HAL_NVIC_EnableIRQ(DMA1_Stream6_IRQn);
  /* DMA1_Stream7_IRQn interrupt configuration */
  HAL_NVIC_SetPriority(DMA1_Stream7_IRQn, 5, 0);
  HAL_NVIC_EnableIRQ(DMA1_Stream7_IRQn);
  /* DMA2_Stream0_IRQn interrupt configuration */
  HAL_NVIC_SetPriority(DMA2_Stream0_IRQn, 5, 0);
  HAL_NVIC_EnableIRQ(DMA2_Stream0_IRQn);
  /* DMA2_Stream1_IRQn interrupt configuration */
  HAL_NVIC_SetPriority(DMA2_Stream1_IRQn, 5, 0);
  HAL_NVIC_EnableIRQ(DMA2_Stream1_IRQn);
  /* DMA2_Stream2_IRQn interrupt configuration */
  HAL_NVIC_SetPriority(DMA2_Stream2_IRQn, 5, 0);
  HAL_NVIC_EnableIRQ(DMA2_Stream2_IRQn);

}

static void MX_GPIO_Init(void)
{
  GPIO_InitTypeDef GPIO_InitStruct = {0};

  /* GPIO Ports Clock Enable */
  __HAL_RCC_GPIOE_CLK_ENABLE();
  __HAL_RCC_GPIOH_CLK_ENABLE();
  __HAL_RCC_GPIOC_CLK_ENABLE();
  __HAL_RCC_GPIOA_CLK_ENABLE();
  __HAL_RCC_GPIOB_CLK_ENABLE();
  __HAL_RCC_GPIOD_CLK_ENABLE();

  /*Configure GPIO pin Output Level */
  HAL_GPIO_WritePin(GPIOE, DROGUE_SR_3V3_Pin|DROGUE_RS_3V3_Pin, GPIO_PIN_RESET);

  /*Configure GPIO pin Output Level */
  HAL_GPIO_WritePin(GPIOC, GPIO_PIN_4, GPIO_PIN_RESET);

  /*Configure GPIO pin Output Level */
  HAL_GPIO_WritePin(GPIOB, GPIO_PIN_0|GPIO_PIN_1|GPIO_PIN_2, GPIO_PIN_SET);

  /*Configure GPIO pin Output Level */
  HAL_GPIO_WritePin(GPIOD, GPIO_PIN_8, GPIO_PIN_SET);

  /*Configure GPIO pin Output Level */
  HAL_GPIO_WritePin(GPIOA, PCHUTE_SR_3V3_Pin|PCHUTE_RS_3V3_Pin, GPIO_PIN_RESET);

  /*Configure GPIO pins : DROGUE_SR_3V3_Pin DROGUE_RS_3V3_Pin */
  GPIO_InitStruct.Pin = DROGUE_SR_3V3_Pin|DROGUE_RS_3V3_Pin;
  GPIO_InitStruct.Mode = GPIO_MODE_OUTPUT_PP;
  GPIO_InitStruct.Pull = GPIO_NOPULL;
  GPIO_InitStruct.Speed = GPIO_SPEED_FREQ_LOW;
  HAL_GPIO_Init(GPIOE, &GPIO_InitStruct);

  /*Configure GPIO pin : PC4 */
  GPIO_InitStruct.Pin = GPIO_PIN_4;
  GPIO_InitStruct.Mode = GPIO_MODE_OUTPUT_PP;
  GPIO_InitStruct.Pull = GPIO_NOPULL;
  GPIO_InitStruct.Speed = GPIO_SPEED_FREQ_HIGH;
  HAL_GPIO_Init(GPIOC, &GPIO_InitStruct);

  /*Configure GPIO pin : PB0 */
  GPIO_InitStruct.Pin = GPIO_PIN_0;
  GPIO_InitStruct.Mode = GPIO_MODE_OUTPUT_PP;
  GPIO_InitStruct.Pull = GPIO_NOPULL;
  GPIO_InitStruct.Speed = GPIO_SPEED_FREQ_HIGH;
  HAL_GPIO_Init(GPIOB, &GPIO_InitStruct);

  /*Configure GPIO pins : PB1 PB2 */
  GPIO_InitStruct.Pin = GPIO_PIN_1|GPIO_PIN_2;
  GPIO_InitStruct.Mode = GPIO_MODE_OUTPUT_PP;
  GPIO_InitStruct.Pull = GPIO_NOPULL;
  GPIO_InitStruct.Speed = GPIO_SPEED_FREQ_LOW;
  HAL_GPIO_Init(GPIOB, &GPIO_InitStruct);

  /*Configure GPIO pin : PD8 */
  GPIO_InitStruct.Pin = GPIO_PIN_8;
  GPIO_InitStruct.Mode = GPIO_MODE_OUTPUT_PP;
  GPIO_InitStruct.Pull = GPIO_NOPULL;
  GPIO_InitStruct.Speed = GPIO_SPEED_FREQ_HIGH;
  HAL_GPIO_Init(GPIOD, &GPIO_InitStruct);

  /*Configure GPIO pins : PCHUTE_SR_3V3_Pin PCHUTE_RS_3V3_Pin */
  GPIO_InitStruct.Pin = PCHUTE_SR_3V3_Pin|PCHUTE_RS_3V3_Pin;
  GPIO_InitStruct.Mode = GPIO_MODE_OUTPUT_PP;
  GPIO_InitStruct.Pull = GPIO_NOPULL;
  GPIO_InitStruct.Speed = GPIO_SPEED_FREQ_LOW;
  HAL_GPIO_Init(GPIOA, &GPIO_InitStruct);

  /*Configure GPIO pin : PD1 */
  GPIO_InitStruct.Pin = GPIO_PIN_1;
  GPIO_InitStruct.Mode = GPIO_MODE_INPUT;
  GPIO_InitStruct.Pull = GPIO_NOPULL;
  HAL_GPIO_Init(GPIOD, &GPIO_InitStruct);

}

void StartDefaultTask(void *argument)
{
  /* USER CODE BEGIN 5 */
  vTaskDelete(NULL);
  /* USER CODE END 5 */
}

 /* MPU Configuration */

void MPU_Config(void)
{
  MPU_Region_InitTypeDef MPU_InitStruct = {0};

  /* Disables the MPU */
  HAL_MPU_Disable();

  /** Initializes and configures the Region and the memory to be protected
  */
  MPU_InitStruct.Enable = MPU_REGION_ENABLE;
  MPU_InitStruct.Number = MPU_REGION_NUMBER0;
  MPU_InitStruct.BaseAddress = 0x30000000;
  MPU_InitStruct.Size = MPU_REGION_SIZE_32KB;
  MPU_InitStruct.SubRegionDisable = 0x0;
  MPU_InitStruct.TypeExtField = MPU_TEX_LEVEL1;
  MPU_InitStruct.AccessPermission = MPU_REGION_FULL_ACCESS;
  MPU_InitStruct.DisableExec = MPU_INSTRUCTION_ACCESS_DISABLE;
  MPU_InitStruct.IsShareable = MPU_ACCESS_NOT_SHAREABLE;
  MPU_InitStruct.IsCacheable = MPU_ACCESS_NOT_CACHEABLE;
  MPU_InitStruct.IsBufferable = MPU_ACCESS_NOT_BUFFERABLE;

  HAL_MPU_ConfigRegion(&MPU_InitStruct);
  /* Enables the MPU */
  HAL_MPU_Enable(MPU_HFNMI_PRIVDEF);

}

void HAL_TIM_PeriodElapsedCallback(TIM_HandleTypeDef *htim)
{
  if (htim->Instance == TIM1)
  {
    HAL_IncTick();
  }
}

void Error_Handler(void)
{
  /* USER CODE BEGIN Error_Handler_Debug */
  Buzzer_Beep_Counter(300, 5, 100, true);
  /* User can add his own implementation to report the HAL error return state */
  __disable_irq();
  while (1)
  {
  }
  /* USER CODE END Error_Handler_Debug */
}
